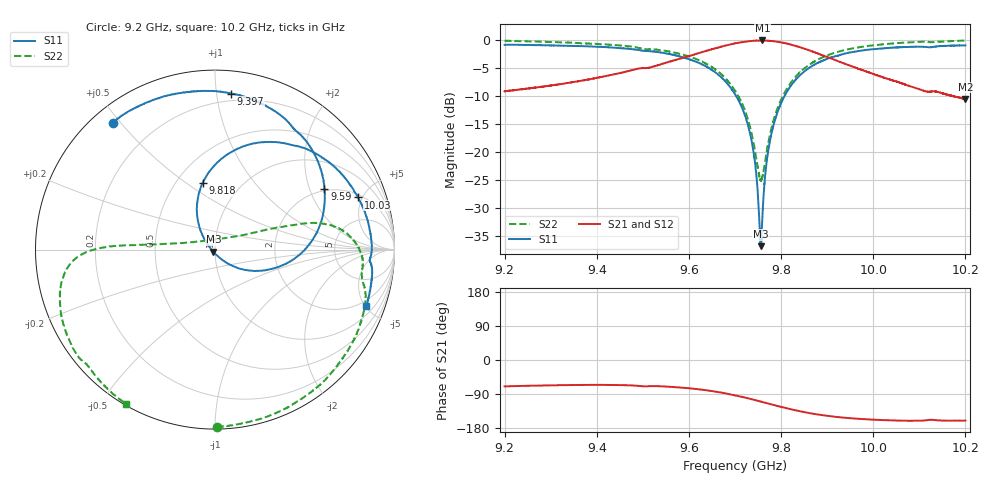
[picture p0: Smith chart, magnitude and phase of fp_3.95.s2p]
!Agilent Technologies,N5242A,MY51221714,A.09.90.19
!Agilent N5242A: A.09.90.19
!Date: Saturday, March 16, 2024 09:50:08
!Correction: S11(Full 2 Port(1,2))
!S21(Full 2 Port(1,2))
!S12(Full 2 Port(1,2))
!S22(Full 2 Port(1,2))
!S2P File: Measurements: S11, S21, S12, S22:
# Hz S  dB  R 50
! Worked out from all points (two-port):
!   16001 points, 9.2 GHz to 10.2 GHz, reference 50 ohm
!   highest |S21| = -0.05 dB at 9.759 GHz (marker M1); lowest = -10.5 dB at 10.2 GHz (marker M2)
!   |S21| within 3 dB of the highest: 9.592 GHz to 9.901 GHz (309.8 MHz wide, 3.18 % of centre); 9.901485 GHz to 9.901515 GHz (29.72 kHz wide, 0.0003 % of centre)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
!   lowest |S11| = -36.8 dB at 9.756 GHz (marker M3), VSWR 1.03, Z = 49.1 - j1.12 ohm
!   |S11| at or under -10 dB: 9.703 GHz to 9.807 GHz (104.9 MHz wide, 1.08 % of centre)
!   |S22| runs from -25.2 to -0.1 dB; largest |S21 - S12| = 0.015
!   S11 on the Smith chart (normalised r, x): 9.2 GHz: 0.06, +0.48; 9.397 GHz: 0.15, +1.10; 9.59 GHz: 1.95, +2.54; 9.818 GHz: 0.67, +0.58; 10.03 GHz: 2.23, +4.63; 10.2 GHz: 1.55, -5.06
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9.2e9  -0.84 128.9  -9.13 -69.6  -9.12 -70.2  -0.10 -89.4
9.277688e9  -0.89 111.8  -8.36 -67.5  -8.34 -68.0  -0.27 -67.6
9.366688e9  -1.07 91.5  -7.25 -65.9  -7.23 -66.5  -0.55 -43.4
9.397438e9  -1.17 84.0  -6.79 -65.6  -6.77 -66.4  -0.67 -35.3
9.533375e9  -2.13 47.7  -4.46 -69.1  -4.44 -69.7  -1.73 -2.5
9.589812e9  -3.14 28.8  -3.11 -73.5  -3.08 -74.1  -2.66 7.2
9.645125e9  -5.07 7.2  -1.73 -81.2  -1.74 -81.7  -4.58 14.6
9.7e9  -9.66 -19.2  -0.59 -93.2  -0.56 -93.8  -9.02 19.8
9.735312e9  -17.74 -43.2  -0.15 -103.2  -0.12 -103.9  -16.43 30.0
9.744312e9  -22.61 -53.3  -0.09 -106.1  -0.08 -106.7  -20.20 42.8
9.755625e9  -36.83 -127.4  -0.07 -109.6  -0.05 -110.3  -24.99 92.5
9.759438e9  -31.45 164.5  -0.05 -110.8  -0.05 -111.6  -24.53 117.9
9.767438e9  -22.65 137.5  -0.08 -113.4  -0.08 -114.1  -20.60 150.0
9.778312e9  -17.01 126.2  -0.14 -116.8  -0.14 -117.6  -16.04 165.7
9.818188e9  -8.50 100.7  -0.74 -129.1  -0.72 -129.8  -7.98 176.1
9.866688e9  -4.65 76.2  -1.99 -141.3  -1.98 -141.8  -4.11 178.9
9.935312e9  -2.47 48.8  -4.11 -152.0  -4.11 -152.7  -1.82 -174.4
1.002744e10  -1.43 20.0  -6.81 -158.8  -6.80 -159.5  -0.70 -158.9
1.003338e10  -1.40 18.4  -6.98 -159.0  -6.96 -159.7  -0.64 -157.7
1.011044e10  -1.19 -1.5  -9.06 -159.6  -9.05 -160.3  -0.29 -141.8
1.019994e10  -0.93 -20.6  -10.53 -160.0  -10.51 -160.7  -0.07 -120.1
1.02e10  -0.93 -20.6  -10.53 -160.0  -10.51 -160.7  -0.07 -120.1
